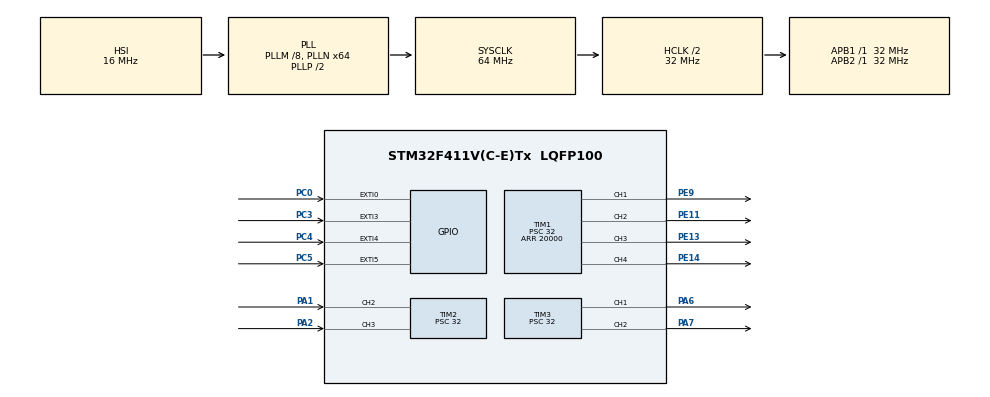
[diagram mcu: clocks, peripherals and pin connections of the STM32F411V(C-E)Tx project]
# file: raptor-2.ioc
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Mcu.Family=STM32F4
Mcu.Name=STM32F411V(C-E)Tx
Mcu.Package=LQFP100
NVIC.EXTI0_IRQn=true\:0\:0\:false\:false\:true\:true\:true
NVIC.EXTI3_IRQn=true\:0\:0\:false\:false\:true\:true\:true
NVIC.EXTI4_IRQn=true\:0\:0\:false\:false\:true\:true\:true
NVIC.EXTI9_5_IRQn=true\:0\:0\:false\:false\:true\:true\:true
NVIC.PriorityGroup=NVIC_PRIORITYGROUP_4
NVIC.RCC_IRQn=true\:0\:0\:false\:false\:true\:true\:false
NVIC.TIM1_BRK_TIM9_IRQn=true\:0\:0\:false\:false\:true\:true\:true
NVIC.TIM2_IRQn=true\:0\:0\:false\:false\:true\:true\:true
PA1.Signal=S_TIM2_CH2
PA13.Mode=Serial_Wire
PA13.Signal=SYS_JTMS-SWDIO
PA14.Mode=Serial_Wire
PA14.Signal=SYS_JTCK-SWCLK
PA2.Signal=S_TIM2_CH3
PA6.Signal=S_TIM3_CH1
PA7.Signal=S_TIM3_CH2
PC0.Signal=GPXTI0
PC3.Signal=GPXTI3
PC4.Signal=GPXTI4
PC5.Signal=GPXTI5
PE11.Signal=S_TIM1_CH2
PE13.Signal=S_TIM1_CH3
PE14.Signal=S_TIM1_CH4
PE9.Signal=S_TIM1_CH1
PH0\ -\ OSC_IN.Mode=HSE-External-Oscillator
PH0\ -\ OSC_IN.Signal=RCC_OSC_IN
PH1\ -\ OSC_OUT.Mode=HSE-External-Oscillator
PH1\ -\ OSC_OUT.Signal=RCC_OSC_OUT
ProjectManager.HeapSize=0x200
ProjectManager.StackSize=0x400
ProjectManager.TargetToolchain=STM32CubeIDE
RCC.48MHZClocksFreq_Value=32000000
RCC.AHBCLKDivider=RCC_SYSCLK_DIV2
RCC.AHBFreq_Value=32000000
RCC.APB1Freq_Value=32000000
RCC.APB1TimFreq_Value=32000000
RCC.APB2Freq_Value=32000000
RCC.APB2TimFreq_Value=32000000
RCC.CortexFreq_Value=32000000
RCC.HCLKFreq_Value=32000000
RCC.HSE_VALUE=25000000
RCC.HSI_VALUE=16000000
RCC.LSE_VALUE=32768
RCC.PLLM=8
RCC.PLLN=64
RCC.SYSCLKFreq_VALUE=64000000
RCC.SYSCLKSource=RCC_SYSCLKSOURCE_PLLCLK
RCC.VCOOutputFreq_Value=128000000
SH.S_TIM1_CH1.0=TIM1_CH1,PWM Generation1 CH1
SH.S_TIM1_CH2.0=TIM1_CH2,PWM Generation2 CH2
SH.S_TIM1_CH3.0=TIM1_CH3,PWM Generation3 CH3
SH.S_TIM1_CH4.0=TIM1_CH4,PWM Generation4 CH4
SH.S_TIM2_CH2.0=TIM2_CH2,Input_Capture2_from_TI2
SH.S_TIM2_CH2.1=TIM2_CH2,TriggerSource_TI2FP2
SH.S_TIM2_CH3.0=TIM2_CH3,Input_Capture3_from_TI3
SH.S_TIM3_CH1.0=TIM3_CH1,PWM Generation1 CH1
SH.S_TIM3_CH2.0=TIM3_CH2,PWM Generation2 CH2
TIM1.Channel-PWM\ Generation1\ CH1=TIM_CHANNEL_1
TIM1.Channel-PWM\ Generation2\ CH2=TIM_CHANNEL_2
TIM1.Channel-PWM\ Generation3\ CH3=TIM_CHANNEL_3
TIM1.Channel-PWM\ Generation4\ CH4=TIM_CHANNEL_4
TIM1.Period=20000
TIM1.Prescaler=32
TIM1.Pulse-PWM\ Generation1\ CH1=0
TIM1.Pulse-PWM\ Generation2\ CH2=0
TIM2.Channel-Input_Capture2_from_TI2=TIM_CHANNEL_2
TIM2.Channel-Input_Capture3_from_TI3=TIM_CHANNEL_3
TIM2.ICPolarity_CH3=TIM_INPUTCHANNELPOLARITY_FALLING
TIM2.Period=0xffff-1
TIM2.Prescaler=32
TIM3.Channel-PWM\ Generation1\ CH1=TIM_CHANNEL_1
TIM3.Channel-PWM\ Generation2\ CH2=TIM_CHANNEL_2
TIM3.Period=20000
TIM3.Prescaler=32
TIM3.Pulse-PWM\ Generation1\ CH1=1000
TIM3.Pulse-PWM\ Generation2\ CH2=1000
TIM9.Period=31999
TIM9.Prescaler=0
VP_TIM2_VS_ControllerModeReset.Mode=Reset Mode
VP_TIM9_VS_ClockSourceINT.Mode=Internal
board=custom

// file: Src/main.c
/* USER CODE BEGIN Header */
/**
  ******************************************************************************
  * @file           : main.c
  * @brief          : Main program body
  ******************************************************************************
  * @attention
  *
  * <h2><center>&copy; Copyright (c) 2020 STMicroelectronics.
  * All rights reserved.</center></h2>
  *
  * This software component is licensed by ST under BSD 3-Clause license,
  * the "License"; You may not use this file except in compliance with the
  * License. You may obtain a copy of the License at:
  *                        opensource.org/licenses/BSD-3-Clause
  *
  ******************************************************************************
  */
/* USER CODE END Header */
#include "main.h"

/* USER CODE BEGIN Includes */
#include "raptor2.h"
/* USER CODE END Includes */

/* USER CODE BEGIN PD */
#define MAX_RPM                 5400	// Maximum possible RPM.
#define SECS_60                 60
#define RPM_UPDATE_INTERVAL     100
#define NUM_OF_MAGNETS          14

/* USER CODE END PD */

TIM_HandleTypeDef htim1;
TIM_HandleTypeDef htim2;
TIM_HandleTypeDef htim3;
TIM_HandleTypeDef htim9;

/* USER CODE BEGIN PV */
_Bool transmitter_calibrated = 0;
_Bool communicationActive = 0;
_Bool motorsDisabled = 0;
_Bool differentialActive = 1;

int16_t RIGHT_SERVO_PULSE, LEFT_SERVO_PULSE;
uint32_t THROTTLE_PWM = 0;

float TRAN_Y_MAX = 0;
float TRAN_Y_MIN = 100000;
float TRAN_Y_RANGE = 0;
float TRAN_X_MAX = 0;
float TRAN_X_MIN = 100000;

float CH2_Val1 = 0;
float CH2_Val2 = 0;
float CH3_Val1 = 0;
float CH3_Val2 = 0;

extern uint16_t ESC_MIN_PWM;

// counters
uint16_t calibrated_cnt = 0;
uint16_t communicationCounter = 0;

uint8_t seconds = 0;
uint32_t Frequency = 0;
uint32_t Duty_Cycle = 0;
uint8_t CH2_is_First_Captured = 0;
uint8_t CH3_is_First_Captured = 0;

int16_t angle;

/* USER CODE END PV */

void SystemClock_Config(void);
static void MX_GPIO_Init(void);
static void MX_TIM2_Init(void);
static void MX_TIM3_Init(void);
static void MX_TIM1_Init(void);
static void MX_TIM9_Init(void);

/* USER CODE BEGIN 0 */

/////////////////////////////////////////////////////////////////////////////////
//**************************  CAPTURE TRANSMITTER  ****************************//
/////////////////////////////////////////////////////////////////////////////////

void HAL_TIM_IC_CaptureCallback(TIM_HandleTypeDef *htim)
{
    if (htim->Instance == TIM2)
    {
        if (htim->Channel == HAL_TIM_ACTIVE_CHANNEL_2)  // if the interrupt source is channel2
        {
            if (CH2_is_First_Captured == 0) // if the first value is not captured
            {
                CH2_Val1 = HAL_TIM_ReadCapturedValue(htim, TIM_CHANNEL_2);     // read the first value

                CH2_is_First_Captured = 1;       // set the first captured as true
                // Now change the polarity to falling edge

                __HAL_TIM_SET_CAPTUREPOLARITY(htim, TIM_CHANNEL_2, TIM_INPUTCHANNELPOLARITY_FALLING);
            }

            else if (CH2_is_First_Captured == 1)   // if the first is already captured
            {
                CH2_Val2 = HAL_TIM_ReadCapturedValue(htim, TIM_CHANNEL_2);      // read second value

                __HAL_TIM_SET_COUNTER(htim, 0);     // reset the counter

                CH2_is_First_Captured = 0;     // set it back to false

                // set polarity to rising edge
                __HAL_TIM_SET_CAPTUREPOLARITY(htim, TIM_CHANNEL_2, TIM_INPUTCHANNELPOLARITY_RISING);

            }
        }

        if (htim->Channel == HAL_TIM_ACTIVE_CHANNEL_3)  // if the interrupt source is channel2
        {
            if (CH3_is_First_Captured == 0) // if the first value is not captured
            {
                CH3_Val1 = HAL_TIM_ReadCapturedValue(htim, TIM_CHANNEL_3);      // read the first value
                CH3_is_First_Captured = 1;       // set the first captured as true
                // Now change the polarity to falling edge

                __HAL_TIM_SET_CAPTUREPOLARITY(htim, TIM_CHANNEL_3, TIM_INPUTCHANNELPOLARITY_FALLING);
            }

            else if (CH3_is_First_Captured == 1)   // if the first is already captured
            {
                CH3_Val2 = HAL_TIM_ReadCapturedValue(htim, TIM_CHANNEL_3);       // read second value
                __HAL_TIM_SET_COUNTER(htim, 0);      // reset the counter

                CH3_is_First_Captured = 0;      // set it back to false

                // set polarity to rising edge
                __HAL_TIM_SET_CAPTUREPOLARITY(htim, TIM_CHANNEL_3, TIM_INPUTCHANNELPOLARITY_RISING);

            }

        }
    }
}

/////////////////////////////////////////////////////////////////////////////////
//*******************************  1ms COUNTER  *******************************//
/////////////////////////////////////////////////////////////////////////////////
void HAL_TIM_PeriodElapsedCallback(TIM_HandleTypeDef *htim)
{
    communicationCounter++;

    if (htim->Instance == TIM9 && transmitter_calibrated == 0)
    {
        calibrated_cnt += 1;
    }

    if (communicationCounter > 249)
    {
        // check to see if transmitter/reciever are still communicating
        communicationActive = communicationsCheck(CH2_Val1, CH2_Val2, CH3_Val1, CH3_Val2);
        communicationCounter = 0;
    }
}

/* USER CODE END 0 */

int main(void)
{

    /* MCU Configuration--------------------------------------------------------*/

    /* Reset of all peripherals, Initializes the Flash interface and the Systick. */
    HAL_Init();

    /* Configure the system clock */
    SystemClock_Config();

    /* Initialize all configured peripherals */
    MX_GPIO_Init();
    MX_TIM2_Init();
    MX_TIM3_Init();
    MX_TIM1_Init();
    MX_TIM9_Init();
    /* USER CODE BEGIN 2 */
    enableMotors();
    enableServos(htim3, 1750);
    HAL_TIM_IC_Start_IT(&htim2, TIM_CHANNEL_2);
    HAL_TIM_IC_Start_IT(&htim2, TIM_CHANNEL_3);
    HAL_TIM_Base_Start_IT(&htim9);
    activateESCs(htim1);
    /* USER CODE END 2 */

    /* Infinite loop */
    /* USER CODE BEGIN WHILE */
    while (1)
    {
        if (!transmitter_calibrated)
        {
            calibrateTransmitter(CH2_Val2, CH3_Val2);

            if (calibrated_cnt == 6000)
            {
                transmitter_calibrated = 1;
                calibrated_cnt = 0;
                activateESCs(htim1);
            }
        }
        else if(transmitter_calibrated)
        {
            if (!communicationActive)
            {
                disableMotors();
                motorsDisabled = 1;
            }
            else if(communicationActive)
            {
                if(motorsDisabled)
                {
                    enableMotors();
                    motorsDisabled = 0;
                }

                angle = steerServos(htim3, CH2_Val2);

                // wheels
                THROTTLE_PWM = 1000 + (((CH3_Val2 - TRAN_Y_MIN) / (TRAN_Y_MAX - TRAN_Y_MIN)) * 1000);

                if (differentialActive == 1)
                {
                    differential(angle, THROTTLE_PWM, THROTTLE_PWM, THROTTLE_PWM, THROTTLE_PWM);
                }
                else if(differentialActive == 0)
                {
                    applyThrottle(htim1, THROTTLE_PWM, THROTTLE_PWM, THROTTLE_PWM, THROTTLE_PWM);
                }
            }
        }

        /* USER CODE END WHILE */

    }
}

void SystemClock_Config(void)
{
    RCC_OscInitTypeDef RCC_OscInitStruct = {0};
    RCC_ClkInitTypeDef RCC_ClkInitStruct = {0};

    /** Configure the main internal regulator output voltage
    */
    __HAL_RCC_PWR_CLK_ENABLE();
    __HAL_PWR_VOLTAGESCALING_CONFIG(PWR_REGULATOR_VOLTAGE_SCALE1);
    /** Initializes the RCC Oscillators according to the specified parameters
    * in the RCC_OscInitTypeDef structure.
    */
    RCC_OscInitStruct.OscillatorType = RCC_OSCILLATORTYPE_HSI;
    RCC_OscInitStruct.HSIState = RCC_HSI_ON;
    RCC_OscInitStruct.HSICalibrationValue = RCC_HSICALIBRATION_DEFAULT;
    RCC_OscInitStruct.PLL.PLLState = RCC_PLL_ON;
    RCC_OscInitStruct.PLL.PLLSource = RCC_PLLSOURCE_HSI;
    RCC_OscInitStruct.PLL.PLLM = 8;
    RCC_OscInitStruct.PLL.PLLN = 64;
    RCC_OscInitStruct.PLL.PLLP = RCC_PLLP_DIV2;
    RCC_OscInitStruct.PLL.PLLQ = 4;
    if (HAL_RCC_OscConfig(&RCC_OscInitStruct) != HAL_OK)
    {
        Error_Handler();
    }
    /** Initializes the CPU, AHB and APB buses clocks
    */
    RCC_ClkInitStruct.ClockType = RCC_CLOCKTYPE_HCLK|RCC_CLOCKTYPE_SYSCLK
                                  |RCC_CLOCKTYPE_PCLK1|RCC_CLOCKTYPE_PCLK2;
    RCC_ClkInitStruct.SYSCLKSource = RCC_SYSCLKSOURCE_PLLCLK;
    RCC_ClkInitStruct.AHBCLKDivider = RCC_SYSCLK_DIV2;
    RCC_ClkInitStruct.APB1CLKDivider = RCC_HCLK_DIV1;
    RCC_ClkInitStruct.APB2CLKDivider = RCC_HCLK_DIV1;

    if (HAL_RCC_ClockConfig(&RCC_ClkInitStruct, FLASH_LATENCY_1) != HAL_OK)
    {
        Error_Handler();
    }
}

static void MX_TIM1_Init(void)
{

    TIM_MasterConfigTypeDef sMasterConfig = {0};
    TIM_OC_InitTypeDef sConfigOC = {0};
    TIM_BreakDeadTimeConfigTypeDef sBreakDeadTimeConfig = {0};

    htim1.Instance = TIM1;
    htim1.Init.Prescaler = 32;
    htim1.Init.CounterMode = TIM_COUNTERMODE_UP;
    htim1.Init.Period = 20000;
    htim1.Init.ClockDivision = TIM_CLOCKDIVISION_DIV1;
    htim1.Init.RepetitionCounter = 0;
    htim1.Init.AutoReloadPreload = TIM_AUTORELOAD_PRELOAD_DISABLE;
    if (HAL_TIM_PWM_Init(&htim1) != HAL_OK)
    {
        Error_Handler();
    }
    sMasterConfig.MasterOutputTrigger = TIM_TRGO_RESET;
    sMasterConfig.MasterSlaveMode = TIM_MASTERSLAVEMODE_DISABLE;
    if (HAL_TIMEx_MasterConfigSynchronization(&htim1, &sMasterConfig) != HAL_OK)
    {
        Error_Handler();
    }
    sConfigOC.OCMode = TIM_OCMODE_PWM1;
    sConfigOC.Pulse = 0;
    sConfigOC.OCPolarity = TIM_OCPOLARITY_HIGH;
    sConfigOC.OCNPolarity = TIM_OCNPOLARITY_HIGH;
    sConfigOC.OCFastMode = TIM_OCFAST_DISABLE;
    sConfigOC.OCIdleState = TIM_OCIDLESTATE_RESET;
    sConfigOC.OCNIdleState = TIM_OCNIDLESTATE_RESET;
    if (HAL_TIM_PWM_ConfigChannel(&htim1, &sConfigOC, TIM_CHANNEL_1) != HAL_OK)
    {
        Error_Handler();
    }
    if (HAL_TIM_PWM_ConfigChannel(&htim1, &sConfigOC, TIM_CHANNEL_2) != HAL_OK)
    {
        Error_Handler();
    }
    if (HAL_TIM_PWM_ConfigChannel(&htim1, &sConfigOC, TIM_CHANNEL_3) != HAL_OK)
    {
        Error_Handler();
    }
    if (HAL_TIM_PWM_ConfigChannel(&htim1, &sConfigOC, TIM_CHANNEL_4) != HAL_OK)
    {
        Error_Handler();
    }
    sBreakDeadTimeConfig.OffStateRunMode = TIM_OSSR_DISABLE;
    sBreakDeadTimeConfig.OffStateIDLEMode = TIM_OSSI_DISABLE;
    sBreakDeadTimeConfig.LockLevel = TIM_LOCKLEVEL_OFF;
    sBreakDeadTimeConfig.DeadTime = 0;
    sBreakDeadTimeConfig.BreakState = TIM_BREAK_DISABLE;
    sBreakDeadTimeConfig.BreakPolarity = TIM_BREAKPOLARITY_HIGH;
    sBreakDeadTimeConfig.AutomaticOutput = TIM_AUTOMATICOUTPUT_DISABLE;
    if (HAL_TIMEx_ConfigBreakDeadTime(&htim1, &sBreakDeadTimeConfig) != HAL_OK)
    {
        Error_Handler();
    }
    HAL_TIM_MspPostInit(&htim1);

}

static void MX_TIM2_Init(void)
{

    TIM_SlaveConfigTypeDef sSlaveConfig = {0};
    TIM_MasterConfigTypeDef sMasterConfig = {0};
    TIM_IC_InitTypeDef sConfigIC = {0};

    htim2.Instance = TIM2;
    htim2.Init.Prescaler = 32;
    htim2.Init.CounterMode = TIM_COUNTERMODE_UP;
    htim2.Init.Period = 0xffff-1;
    htim2.Init.ClockDivision = TIM_CLOCKDIVISION_DIV1;
    htim2.Init.AutoReloadPreload = TIM_AUTORELOAD_PRELOAD_DISABLE;
    if (HAL_TIM_Base_Init(&htim2) != HAL_OK)
    {
        Error_Handler();
    }
    if (HAL_TIM_IC_Init(&htim2) != HAL_OK)
    {
        Error_Handler();
    }
    sSlaveConfig.SlaveMode = TIM_SLAVEMODE_RESET;
    sSlaveConfig.InputTrigger = TIM_TS_TI2FP2;
    sSlaveConfig.TriggerPolarity = TIM_INPUTCHANNELPOLARITY_RISING;
    sSlaveConfig.TriggerFilter = 0;
    if (HAL_TIM_SlaveConfigSynchro(&htim2, &sSlaveConfig) != HAL_OK)
    {
        Error_Handler();
    }
    sMasterConfig.MasterOutputTrigger = TIM_TRGO_RESET;
    sMasterConfig.MasterSlaveMode = TIM_MASTERSLAVEMODE_DISABLE;
    if (HAL_TIMEx_MasterConfigSynchronization(&htim2, &sMasterConfig) != HAL_OK)
    {
        Error_Handler();
    }
    sConfigIC.ICPolarity = TIM_INPUTCHANNELPOLARITY_RISING;
    sConfigIC.ICSelection = TIM_ICSELECTION_DIRECTTI;
    sConfigIC.ICPrescaler = TIM_ICPSC_DIV1;
    sConfigIC.ICFilter = 0;
    if (HAL_TIM_IC_ConfigChannel(&htim2, &sConfigIC, TIM_CHANNEL_2) != HAL_OK)
    {
        Error_Handler();
    }
    sConfigIC.ICPolarity = TIM_INPUTCHANNELPOLARITY_FALLING;
    if (HAL_TIM_IC_ConfigChannel(&htim2, &sConfigIC, TIM_CHANNEL_3) != HAL_OK)
    {
        Error_Handler();
    }

}

static void MX_TIM3_Init(void)
{

    TIM_MasterConfigTypeDef sMasterConfig = {0};
    TIM_OC_InitTypeDef sConfigOC = {0};

    htim3.Instance = TIM3;
    htim3.Init.Prescaler = 32;
    htim3.Init.CounterMode = TIM_COUNTERMODE_UP;
    htim3.Init.Period = 20000;
    htim3.Init.ClockDivision = TIM_CLOCKDIVISION_DIV1;
    htim3.Init.AutoReloadPreload = TIM_AUTORELOAD_PRELOAD_DISABLE;
    if (HAL_TIM_PWM_Init(&htim3) != HAL_OK)
    {
        Error_Handler();
    }
    sMasterConfig.MasterOutputTrigger = TIM_TRGO_RESET;
    sMasterConfig.MasterSlaveMode = TIM_MASTERSLAVEMODE_DISABLE;
    if (HAL_TIMEx_MasterConfigSynchronization(&htim3, &sMasterConfig) != HAL_OK)
    {
        Error_Handler();
    }
    sConfigOC.OCMode = TIM_OCMODE_PWM1;
    sConfigOC.Pulse = 1000;
    sConfigOC.OCPolarity = TIM_OCPOLARITY_HIGH;
    sConfigOC.OCFastMode = TIM_OCFAST_DISABLE;
    if (HAL_TIM_PWM_ConfigChannel(&htim3, &sConfigOC, TIM_CHANNEL_1) != HAL_OK)
    {
        Error_Handler();
    }
    if (HAL_TIM_PWM_ConfigChannel(&htim3, &sConfigOC, TIM_CHANNEL_2) != HAL_OK)
    {
        Error_Handler();
    }
    HAL_TIM_MspPostInit(&htim3);

}

static void MX_TIM9_Init(void)
{

    TIM_ClockConfigTypeDef sClockSourceConfig = {0};

    htim9.Instance = TIM9;
    htim9.Init.Prescaler = 0;
    htim9.Init.CounterMode = TIM_COUNTERMODE_UP;
    htim9.Init.Period = 31999;
    htim9.Init.ClockDivision = TIM_CLOCKDIVISION_DIV1;
    htim9.Init.AutoReloadPreload = TIM_AUTORELOAD_PRELOAD_DISABLE;
    if (HAL_TIM_Base_Init(&htim9) != HAL_OK)
    {
        Error_Handler();
    }
    sClockSourceConfig.ClockSource = TIM_CLOCKSOURCE_INTERNAL;
    if (HAL_TIM_ConfigClockSource(&htim9, &sClockSourceConfig) != HAL_OK)
    {
        Error_Handler();
    }

}

static void MX_GPIO_Init(void)
{
    GPIO_InitTypeDef GPIO_InitStruct = {0};

    /* GPIO Ports Clock Enable */
    __HAL_RCC_GPIOH_CLK_ENABLE();
    __HAL_RCC_GPIOC_CLK_ENABLE();
    __HAL_RCC_GPIOA_CLK_ENABLE();
    __HAL_RCC_GPIOE_CLK_ENABLE();

    /*Configure GPIO pins : PC0 PC3 PC4 PC5 */
    GPIO_InitStruct.Pin = GPIO_PIN_0|GPIO_PIN_3|GPIO_PIN_4|GPIO_PIN_5;
    GPIO_InitStruct.Mode = GPIO_MODE_IT_RISING;
    GPIO_InitStruct.Pull = GPIO_NOPULL;
    HAL_GPIO_Init(GPIOC, &GPIO_InitStruct);

    /* EXTI interrupt init*/
    HAL_NVIC_SetPriority(EXTI0_IRQn, 0, 0);
    HAL_NVIC_EnableIRQ(EXTI0_IRQn);

    HAL_NVIC_SetPriority(EXTI3_IRQn, 0, 0);
    HAL_NVIC_EnableIRQ(EXTI3_IRQn);

    HAL_NVIC_SetPriority(EXTI4_IRQn, 0, 0);
    HAL_NVIC_EnableIRQ(EXTI4_IRQn);

    HAL_NVIC_SetPriority(EXTI9_5_IRQn, 0, 0);
    HAL_NVIC_EnableIRQ(EXTI9_5_IRQn);

}

void Error_Handler(void)
{
}

/************************ (C) COPYRIGHT STMicroelectronics *****END OF FILE****/
